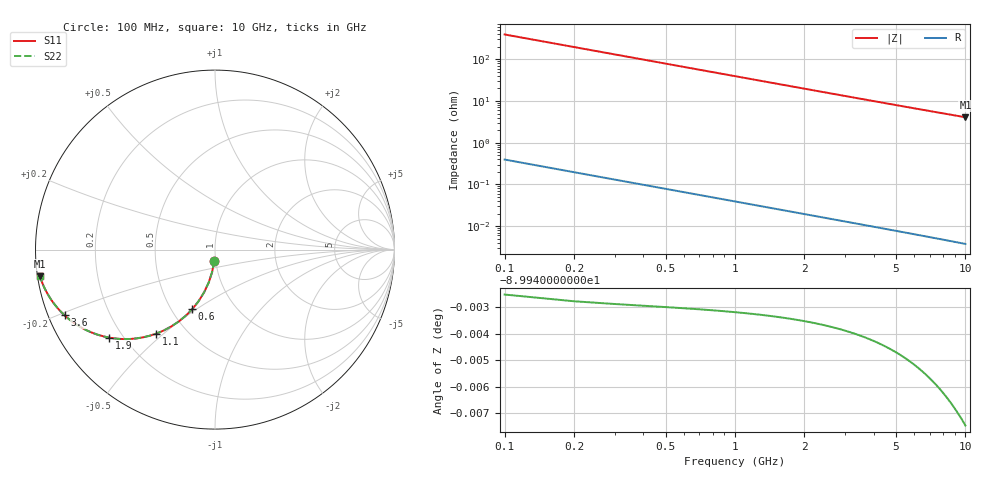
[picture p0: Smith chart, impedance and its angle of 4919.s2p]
# Hz S RI R 50.00
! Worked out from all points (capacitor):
!   100 points, 100 MHz to 10 GHz, reference 50 ohm
!   read as one part in shunt: C = 4.04 pF near 100 MHz
!   lowest |Z| = 4.09 ohm at 10 GHz (marker M1)
!   S11 on the Smith chart (normalised r, x): 100 MHz: 0.98, -0.12; 600 MHz: 0.63, -0.48; 1.1 GHz: 0.34, -0.47; 1.9 GHz: 0.15, -0.35; 3.6 GHz: 0.05, -0.21; 10 GHz: 0.01, -0.08
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1e8  -0.00406 -0.0631  0.9959 -0.0632  0.9959 -0.0632  -0.00406 -0.0631
2e8  -0.0159 -0.1247  0.984 -0.1249  0.984 -0.1249  -0.0159 -0.1247
3e8  -0.0351 -0.1834  0.9649 -0.1837  0.9649 -0.1837  -0.0351 -0.1834
4e8  -0.0607 -0.238  0.9393 -0.2384  0.9393 -0.2384  -0.0607 -0.238
5e8  -0.0916 -0.2877  0.9084 -0.2882  0.9084 -0.2882  -0.0916 -0.2877
6e8  -0.1267 -0.3318  0.8733 -0.3324  0.8733 -0.3324  -0.1267 -0.3318
8e8  -0.2048 -0.4026  0.7952 -0.4035  0.7952 -0.4035  -0.2048 -0.4026
9e8  -0.2457 -0.4295  0.7543 -0.4305  0.7543 -0.4305  -0.2457 -0.4295
1.1e9  -0.3271 -0.4681  0.6729 -0.4692  0.6729 -0.4692  -0.3271 -0.4681
1.4e9  -0.4402 -0.4952  0.5598 -0.4967  0.5598 -0.4967  -0.4402 -0.4952
1.8e9  -0.5647 -0.4943  0.4352 -0.4963  0.4352 -0.4963  -0.5647 -0.4943
1.9e9  -0.591 -0.4901  0.409 -0.4922  0.409 -0.4922  -0.591 -0.4901
2.2e9  -0.6593 -0.4723  0.3407 -0.4746  0.3407 -0.4746  -0.6593 -0.4723
2.6e9  -0.7296 -0.4423  0.2704 -0.4451  0.2704 -0.4451  -0.7296 -0.4423
3e9  -0.782 -0.4108  0.218 -0.414  0.218 -0.414  -0.782 -0.4108
3.4e9  -0.8215 -0.3806  0.1785 -0.3843  0.1785 -0.3843  -0.8215 -0.3806
3.6e9  -0.8376 -0.3664  0.1624 -0.3703  0.1624 -0.3703  -0.8376 -0.3664
4.3e9  -0.8801 -0.3219  0.1198 -0.3266  0.1198 -0.3266  -0.8801 -0.3219
5.1e9  -0.9116 -0.2806  0.0884 -0.2861  0.0884 -0.2861  -0.9116 -0.2806
6.7e9  -0.9467 -0.2203  0.0532 -0.2277  0.0532 -0.2277  -0.9467 -0.2203
8.4e9  -0.9655 -0.1774  0.0345 -0.1867  0.0345 -0.1867  -0.9655 -0.1774
1e10  -0.9754 -0.1486  0.0245 -0.1597  0.0245 -0.1597  -0.9754 -0.1486
